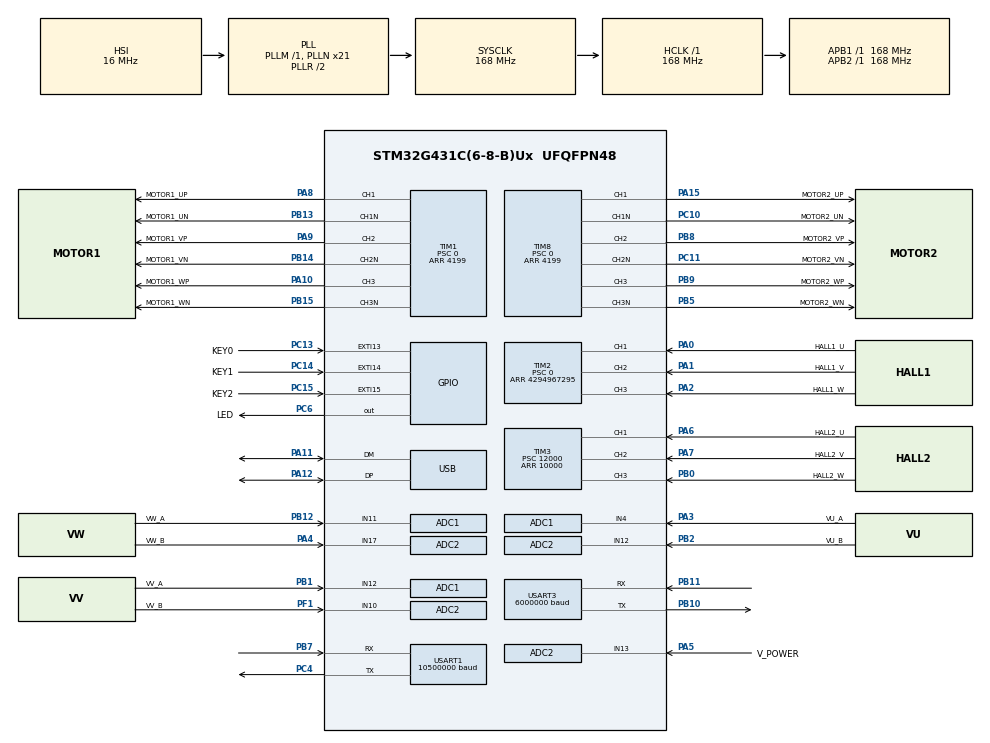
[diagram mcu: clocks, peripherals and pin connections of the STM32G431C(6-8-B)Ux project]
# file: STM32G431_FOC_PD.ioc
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ADC1.EnableInjectedConversion=ENABLE
ADC1.EnableRegularConversion=DISABLE
ADC1.ExternalTrigInjecConv=ADC_EXTERNALTRIGINJEC_T1_CC4
ADC1.ExternalTrigInjecConvEdge=ADC_EXTERNALTRIGINJECCONV_EDGE_FALLING
ADC1.InjNumberOfConversion=3
ADC1.InjectedChannel-2\#ChannelInjectedConversion=ADC_CHANNEL_4
ADC1.InjectedChannel-3\#ChannelInjectedConversion=ADC_CHANNEL_12
ADC1.InjectedChannel-4\#ChannelInjectedConversion=ADC_CHANNEL_11
ADC1.InjectedOffsetNumber-2\#ChannelInjectedConversion=ADC_OFFSET_NONE
ADC1.InjectedOffsetNumber-3\#ChannelInjectedConversion=ADC_OFFSET_NONE
ADC1.InjectedOffsetNumber-4\#ChannelInjectedConversion=ADC_OFFSET_NONE
ADC1.InjectedRank-2\#ChannelInjectedConversion=1
ADC1.InjectedRank-3\#ChannelInjectedConversion=2
ADC1.InjectedRank-4\#ChannelInjectedConversion=3
ADC1.InjectedSamplingTime-2\#ChannelInjectedConversion=ADC_SAMPLETIME_2CYCLES_5
ADC1.InjectedSamplingTime-3\#ChannelInjectedConversion=ADC_SAMPLETIME_2CYCLES_5
ADC1.InjectedSamplingTime-4\#ChannelInjectedConversion=ADC_SAMPLETIME_2CYCLES_5
ADC1.Mode=ADC_MODE_INDEPENDENT
ADC1.Rank2_Channel=ADC_CHANNEL_12
ADC1.Rank3_Channel=ADC_CHANNEL_11
ADC1.injectedQueueMode=DISABLE
ADC1.master=1
ADC2.ContinuousConvMode=DISABLE
ADC2.EOCSelection=ADC_EOC_SEQ_CONV
ADC2.EnableInjectedConversion=ENABLE
ADC2.EnableInjectedOversampling=DISABLE
ADC2.EnableRegularConversion=DISABLE
ADC2.ExternalTrigInjecConv=ADC_EXTERNALTRIGINJEC_T8_CC4
ADC2.ExternalTrigInjecConvEdge=ADC_EXTERNALTRIGINJECCONV_EDGE_FALLING
ADC2.InjNumberOfConversion=4
ADC2.InjectedChannel-12\#ChannelInjectedConversion=ADC_CHANNEL_17
ADC2.InjectedChannel-13\#ChannelInjectedConversion=ADC_CHANNEL_10
ADC2.InjectedChannel-14\#ChannelInjectedConversion=ADC_CHANNEL_12
ADC2.InjectedChannel-17\#ChannelInjectedConversion=ADC_CHANNEL_13
ADC2.InjectedOffsetNumber-12\#ChannelInjectedConversion=ADC_OFFSET_NONE
ADC2.InjectedOffsetNumber-13\#ChannelInjectedConversion=ADC_OFFSET_NONE
ADC2.InjectedOffsetNumber-14\#ChannelInjectedConversion=ADC_OFFSET_NONE
ADC2.InjectedOffsetNumber-17\#ChannelInjectedConversion=ADC_OFFSET_NONE
ADC2.InjectedRank-12\#ChannelInjectedConversion=1
ADC2.InjectedRank-13\#ChannelInjectedConversion=2
ADC2.InjectedRank-14\#ChannelInjectedConversion=3
ADC2.InjectedRank-17\#ChannelInjectedConversion=4
ADC2.InjectedSamplingTime-12\#ChannelInjectedConversion=ADC_SAMPLETIME_2CYCLES_5
ADC2.InjectedSamplingTime-13\#ChannelInjectedConversion=ADC_SAMPLETIME_2CYCLES_5
ADC2.InjectedSamplingTime-14\#ChannelInjectedConversion=ADC_SAMPLETIME_2CYCLES_5
ADC2.InjectedSamplingTime-17\#ChannelInjectedConversion=ADC_SAMPLETIME_2CYCLES_5
ADC2.OversamplingMode=DISABLE
ADC2.Rank1_Channel=ADC_CHANNEL_17
ADC2.Rank2_Channel=ADC_CHANNEL_10
ADC2.Rank3_Channel=ADC_CHANNEL_12
ADC2.Rank4_Channel=ADC_CHANNEL_13
ADC2.injectedQueueMode=DISABLE
Dma.CORDIC_READ.0.Direction=DMA_PERIPH_TO_MEMORY
Dma.CORDIC_READ.0.EventEnable=DISABLE
Dma.CORDIC_READ.0.Instance=DMA1_Channel1
Dma.CORDIC_READ.0.MemDataAlignment=DMA_MDATAALIGN_WORD
Dma.CORDIC_READ.0.MemInc=DMA_MINC_ENABLE
Dma.CORDIC_READ.0.Mode=DMA_NORMAL
Dma.CORDIC_READ.0.PeriphDataAlignment=DMA_PDATAALIGN_WORD
Dma.CORDIC_READ.0.PeriphInc=DMA_PINC_DISABLE
Dma.CORDIC_READ.0.Polarity=HAL_DMAMUX_REQ_GEN_RISING
Dma.CORDIC_READ.0.Priority=DMA_PRIORITY_LOW
Dma.CORDIC_READ.0.RequestNumber=1
Dma.CORDIC_READ.0.SignalID=NONE
Dma.CORDIC_READ.0.SyncEnable=DISABLE
Dma.CORDIC_READ.0.SyncPolarity=HAL_DMAMUX_SYNC_NO_EVENT
Dma.CORDIC_READ.0.SyncRequestNumber=1
Dma.CORDIC_READ.0.SyncSignalID=NONE
Dma.CORDIC_WRITE.1.Direction=DMA_MEMORY_TO_PERIPH
Dma.CORDIC_WRITE.1.EventEnable=DISABLE
Dma.CORDIC_WRITE.1.Instance=DMA1_Channel2
Dma.CORDIC_WRITE.1.MemDataAlignment=DMA_MDATAALIGN_WORD
Dma.CORDIC_WRITE.1.MemInc=DMA_MINC_ENABLE
Dma.CORDIC_WRITE.1.Mode=DMA_NORMAL
Dma.CORDIC_WRITE.1.PeriphDataAlignment=DMA_PDATAALIGN_WORD
Dma.CORDIC_WRITE.1.PeriphInc=DMA_PINC_DISABLE
Dma.CORDIC_WRITE.1.Polarity=HAL_DMAMUX_REQ_GEN_RISING
Dma.CORDIC_WRITE.1.Priority=DMA_PRIORITY_LOW
Dma.CORDIC_WRITE.1.RequestNumber=1
Dma.CORDIC_WRITE.1.SignalID=NONE
Dma.CORDIC_WRITE.1.SyncEnable=DISABLE
Dma.CORDIC_WRITE.1.SyncPolarity=HAL_DMAMUX_SYNC_NO_EVENT
Dma.CORDIC_WRITE.1.SyncRequestNumber=1
Dma.CORDIC_WRITE.1.SyncSignalID=NONE
Dma.Request0=CORDIC_READ
Dma.Request1=CORDIC_WRITE
Dma.Request2=USART1_TX
Dma.USART1_TX.2.Direction=DMA_MEMORY_TO_PERIPH
Dma.USART1_TX.2.EventEnable=DISABLE
Dma.USART1_TX.2.Instance=DMA2_Channel1
Dma.USART1_TX.2.MemDataAlignment=DMA_MDATAALIGN_BYTE
Dma.USART1_TX.2.MemInc=DMA_MINC_ENABLE
Dma.USART1_TX.2.Mode=DMA_NORMAL
Dma.USART1_TX.2.PeriphDataAlignment=DMA_PDATAALIGN_BYTE
Dma.USART1_TX.2.PeriphInc=DMA_PINC_DISABLE
Dma.USART1_TX.2.Polarity=HAL_DMAMUX_REQ_GEN_RISING
Dma.USART1_TX.2.Priority=DMA_PRIORITY_LOW
Dma.USART1_TX.2.RequestNumber=1
Dma.USART1_TX.2.SignalID=NONE
Dma.USART1_TX.2.SyncEnable=DISABLE
Dma.USART1_TX.2.SyncPolarity=HAL_DMAMUX_SYNC_NO_EVENT
Dma.USART1_TX.2.SyncRequestNumber=1
Dma.USART1_TX.2.SyncSignalID=NONE
Mcu.Family=STM32G4
Mcu.Name=STM32G431C(6-8-B)Ux
Mcu.Package=UFQFPN48
NVIC.ADC1_2_IRQn=true\:0\:0\:true\:false\:true\:true\:true\:true
NVIC.DMA1_Channel1_IRQn=true\:0\:0\:false\:false\:true\:false\:true\:true
NVIC.DMA1_Channel2_IRQn=true\:0\:0\:false\:false\:true\:false\:true\:true
NVIC.DMA2_Channel1_IRQn=true\:2\:0\:true\:false\:true\:false\:true\:true
NVIC.EXTI15_10_IRQn=true\:2\:0\:true\:false\:true\:true\:true\:true
NVIC.PriorityGroup=NVIC_PRIORITYGROUP_4
NVIC.TIM1_CC_IRQn=true\:1\:0\:true\:false\:true\:true\:true\:true
NVIC.TIM2_IRQn=true\:2\:0\:true\:false\:true\:true\:true\:true
NVIC.TIM3_IRQn=true\:2\:0\:true\:false\:true\:true\:true\:true
NVIC.TIM8_CC_IRQn=true\:1\:0\:true\:false\:true\:true\:true\:true
NVIC.USART1_IRQn=true\:3\:0\:true\:false\:true\:true\:true\:true
NVIC.USB_LP_IRQn=true\:0\:0\:false\:false\:true\:false\:true\:true
PA0.GPIO_Label=HALL1_U
PA0.GPIO_PuPd=GPIO_PULLDOWN
PA0.GPIO_Speed=GPIO_SPEED_FREQ_HIGH
PA0.Signal=S_TIM2_CH1
PA1.GPIO_Label=HALL1_V
PA1.GPIO_PuPd=GPIO_PULLDOWN
PA1.GPIO_Speed=GPIO_SPEED_FREQ_HIGH
PA1.Signal=S_TIM2_CH2
PA10.GPIO_Label=MOTOR1_WP
PA10.GPIO_PuPd=GPIO_NOPULL
PA10.GPIO_Speed=GPIO_SPEED_FREQ_LOW
PA10.Signal=S_TIM1_CH3
PA11.Mode=Device
PA11.Signal=USB_DM
PA12.Mode=Device
PA12.Signal=USB_DP
PA13.Mode=Serial_Wire
PA13.Signal=SYS_JTMS-SWDIO
PA14.Mode=Serial_Wire
PA14.Signal=SYS_JTCK-SWCLK
PA15.GPIO_Label=MOTOR2_UP
PA15.GPIO_PuPd=GPIO_NOPULL
PA15.GPIO_Speed=GPIO_SPEED_FREQ_LOW
PA15.Signal=S_TIM8_CH1
PA2.GPIO_Label=HALL1_W
PA2.GPIO_PuPd=GPIO_PULLDOWN
PA2.GPIO_Speed=GPIO_SPEED_FREQ_HIGH
PA2.Signal=S_TIM2_CH3
PA3.GPIO_Label=VU_A
PA3.Mode=IN4-Single-Ended
PA3.Signal=ADC1_IN4
PA4.GPIO_Label=VW_B
PA4.Mode=IN17-Single-Ended
PA4.Signal=ADC2_IN17
PA5.GPIO_Label=V_POWER
PA5.Mode=IN13-Single-Ended
PA5.Signal=ADC2_IN13
PA6.GPIO_Label=HALL2_U
PA6.GPIO_PuPd=GPIO_PULLDOWN
PA6.Signal=S_TIM3_CH1
PA7.GPIO_Label=HALL2_V
PA7.GPIO_PuPd=GPIO_PULLDOWN
PA7.Signal=S_TIM3_CH2
PA8.GPIO_Label=MOTOR1_UP
PA8.GPIO_PuPd=GPIO_NOPULL
PA8.GPIO_Speed=GPIO_SPEED_FREQ_LOW
PA8.Signal=S_TIM1_CH1
PA9.GPIO_Label=MOTOR1_VP
PA9.GPIO_PuPd=GPIO_NOPULL
PA9.GPIO_Speed=GPIO_SPEED_FREQ_LOW
PA9.Signal=S_TIM1_CH2
PB0.GPIO_Label=HALL2_W
PB0.GPIO_PuPd=GPIO_PULLDOWN
PB0.Signal=S_TIM3_CH3
PB1.GPIO_Label=VV_A
PB1.Mode=IN12-Single-Ended
PB1.Signal=ADC1_IN12
PB10.Mode=Asynchronous
PB10.Signal=USART3_TX
PB11.Mode=Asynchronous
PB11.Signal=USART3_RX
PB12.GPIO_Label=VW_A
PB12.Mode=IN11-Single-Ended
PB12.Signal=ADC1_IN11
PB13.GPIO_Label=MOTOR1_UN
PB13.GPIO_PuPd=GPIO_NOPULL
PB13.GPIO_Speed=GPIO_SPEED_FREQ_LOW
PB13.Mode=PWM Generation1 CH1 CH1N
PB13.Signal=TIM1_CH1N
PB14.GPIO_Label=MOTOR1_VN
PB14.GPIO_PuPd=GPIO_NOPULL
PB14.GPIO_Speed=GPIO_SPEED_FREQ_LOW
PB14.Mode=PWM Generation2 CH2 CH2N
PB14.Signal=TIM1_CH2N
PB15.GPIO_Label=MOTOR1_WN
PB15.GPIO_PuPd=GPIO_NOPULL
PB15.GPIO_Speed=GPIO_SPEED_FREQ_LOW
PB15.Mode=PWM Generation3 CH3 CH3N
PB15.Signal=TIM1_CH3N
PB2.GPIO_Label=VU_B
PB2.Mode=IN12-Single-Ended
PB2.Signal=ADC2_IN12
PB5.GPIO_Label=MOTOR2_WN
PB5.GPIO_PuPd=GPIO_NOPULL
PB5.GPIO_Speed=GPIO_SPEED_FREQ_LOW
PB5.Mode=PWM Generation3 CH3 CH3N
PB5.Signal=TIM8_CH3N
PB7.Mode=Asynchronous
PB7.Signal=USART1_RX
PB8-BOOT0.GPIO_Label=MOTOR2_VP
PB8-BOOT0.GPIO_PuPd=GPIO_NOPULL
PB8-BOOT0.GPIO_Speed=GPIO_SPEED_FREQ_LOW
PB8-BOOT0.Signal=S_TIM8_CH2
PB9.GPIO_Label=MOTOR2_WP
PB9.GPIO_PuPd=GPIO_NOPULL
PB9.GPIO_Speed=GPIO_SPEED_FREQ_LOW
PB9.Signal=S_TIM8_CH3
PC10.GPIO_Label=MOTOR2_UN
PC10.GPIO_PuPd=GPIO_NOPULL
PC10.GPIO_Speed=GPIO_SPEED_FREQ_LOW
PC10.Mode=PWM Generation1 CH1 CH1N
PC10.Signal=TIM8_CH1N
PC11.GPIO_Label=MOTOR2_VN
PC11.GPIO_PuPd=GPIO_NOPULL
PC11.GPIO_Speed=GPIO_SPEED_FREQ_LOW
PC11.Mode=PWM Generation2 CH2 CH2N
PC11.Signal=TIM8_CH2N
PC13.GPIO_Label=KEY0
PC13.GPIO_ModeDefaultEXTI=GPIO_MODE_IT_FALLING
PC13.GPIO_PuPd=GPIO_PULLUP
PC13.Signal=GPXTI13
PC14-OSC32_IN.GPIO_Label=KEY1
PC14-OSC32_IN.GPIO_ModeDefaultEXTI=GPIO_MODE_IT_FALLING
PC14-OSC32_IN.GPIO_PuPd=GPIO_PULLUP
PC14-OSC32_IN.Signal=GPXTI14
PC15-OSC32_OUT.GPIO_Label=KEY2
PC15-OSC32_OUT.GPIO_ModeDefaultEXTI=GPIO_MODE_IT_FALLING
PC15-OSC32_OUT.GPIO_PuPd=GPIO_PULLUP
PC15-OSC32_OUT.Signal=GPXTI15
PC4.Mode=Asynchronous
PC4.Signal=USART1_TX
PC6.GPIO_Label=LED
PC6.Signal=GPIO_Output
PF1-OSC_OUT.GPIO_Label=VV_B
PF1-OSC_OUT.Mode=IN10-Single-Ended
PF1-OSC_OUT.Signal=ADC2_IN10
ProjectManager.HeapSize=0x200
ProjectManager.StackSize=0x400
ProjectManager.TargetToolchain=Makefile
RCC.ADC12Freq_Value=168000000
RCC.AHBFreq_Value=168000000
RCC.APB1Freq_Value=168000000
RCC.APB1TimFreq_Value=168000000
RCC.APB2Freq_Value=168000000
RCC.APB2TimFreq_Value=168000000
RCC.CK48CLockSelection=RCC_USBCLKSOURCE_HSI48
RCC.CortexFreq_Value=168000000
RCC.EXTERNAL_CLOCK_VALUE=12288000
RCC.HCLKFreq_Value=168000000
RCC.HSE_VALUE=8000000
RCC.HSI48_VALUE=48000000
RCC.HSI_VALUE=16000000
RCC.LSE_VALUE=32768
RCC.PLLN=21
RCC.SYSCLKFreq_VALUE=168000000
RCC.SYSCLKSource=RCC_SYSCLKSOURCE_PLLCLK
RCC.USBFreq_Value=48000000
RCC.VCOOutputFreq_Value=336000000
SH.S_TIM1_CH1.0=TIM1_CH1,PWM Generation1 CH1 CH1N
SH.S_TIM1_CH2.0=TIM1_CH2,PWM Generation2 CH2 CH2N
SH.S_TIM1_CH3.0=TIM1_CH3,PWM Generation3 CH3 CH3N
SH.S_TIM2_CH1.0=TIM2_CH1,Xored_Inputs_Hall_Sensor_Interface
SH.S_TIM2_CH2.0=TIM2_CH2,Xored_Inputs_Hall_Sensor_Interface
SH.S_TIM2_CH3.0=TIM2_CH3,Xored_Inputs_Hall_Sensor_Interface
SH.S_TIM3_CH1.0=TIM3_CH1,Xored_Inputs_Hall_Sensor_Interface
SH.S_TIM3_CH2.0=TIM3_CH2,Xored_Inputs_Hall_Sensor_Interface
SH.S_TIM3_CH3.0=TIM3_CH3,Xored_Inputs_Hall_Sensor_Interface
SH.S_TIM8_CH1.0=TIM8_CH1,PWM Generation1 CH1 CH1N
SH.S_TIM8_CH2.0=TIM8_CH2,PWM Generation2 CH2 CH2N
SH.S_TIM8_CH3.0=TIM8_CH3,PWM Generation3 CH3 CH3N
STMicroelectronics.X-CUBE-ALGOBUILD.1.3.0.LibraryCcDSPOoLibraryJjDSPOoLibrary=true
TIM1.AutoReloadPreload=TIM_AUTORELOAD_PRELOAD_DISABLE
TIM1.Channel-PWM\ Generation1\ CH1\ CH1N=TIM_CHANNEL_1
TIM1.Channel-PWM\ Generation2\ CH2\ CH2N=TIM_CHANNEL_2
TIM1.Channel-PWM\ Generation3\ CH3\ CH3N=TIM_CHANNEL_3
TIM1.Channel-PWM\ Generation4\ No\ Output=TIM_CHANNEL_4
TIM1.CounterMode=TIM_COUNTERMODE_CENTERALIGNED1
TIM1.DeadTime=50
TIM1.OCFastMode_PWM-PWM\ Generation1\ CH1\ CH1N=TIM_OCFAST_DISABLE
TIM1.OCFastMode_PWM-PWM\ Generation2\ CH2\ CH2N=TIM_OCFAST_DISABLE
TIM1.OCFastMode_PWM-PWM\ Generation3\ CH3\ CH3N=TIM_OCFAST_DISABLE
TIM1.PeriodNoDither=4199
TIM1.Prescaler=0
TIM1.RepetitionCounter=0
TIM1.TIM_MasterOutputTrigger=TIM_TRGO_OC4REF
TIM2.Channel-Input_Capture1_from_TI1=TIM_CHANNEL_1
TIM2.Channel-Input_Capture2_from_TI2=TIM_CHANNEL_2
TIM2.Channel-Input_Capture3_from_TI3=TIM_CHANNEL_3
TIM2.PeriodNoDither=4294967295
TIM2.Prescaler=0
TIM3.Commutation_Delay=5
TIM3.IC1Filter=10
TIM3.PeriodNoDither=10000
TIM3.Prescaler=12000
TIM8.AutoReloadPreload=TIM_AUTORELOAD_PRELOAD_DISABLE
TIM8.Channel-PWM\ Generation1\ CH1\ CH1N=TIM_CHANNEL_1
TIM8.Channel-PWM\ Generation2\ CH2\ CH2N=TIM_CHANNEL_2
TIM8.Channel-PWM\ Generation3\ CH3\ CH3N=TIM_CHANNEL_3
TIM8.Channel-PWM\ Generation4\ No\ Output=TIM_CHANNEL_4
TIM8.CounterMode=TIM_COUNTERMODE_CENTERALIGNED1
TIM8.DeadTime=50
TIM8.DeadTimePreload=DISABLE
TIM8.Dithering=Disable
TIM8.OCFastMode_PWM-PWM\ Generation1\ CH1\ CH1N=TIM_OCFAST_DISABLE
TIM8.OCFastMode_PWM-PWM\ Generation2\ CH2\ CH2N=TIM_OCFAST_DISABLE
TIM8.OCFastMode_PWM-PWM\ Generation3\ CH3\ CH3N=TIM_OCFAST_DISABLE
TIM8.OCMode_PWM-PWM\ Generation1\ CH1\ CH1N=TIM_OCMODE_PWM1
TIM8.OCMode_PWM-PWM\ Generation2\ CH2\ CH2N=TIM_OCMODE_PWM1
TIM8.OCMode_PWM-PWM\ Generation3\ CH3\ CH3N=TIM_OCMODE_PWM1
TIM8.PeriodNoDither=4199
TIM8.Prescaler=0
TIM8.RepetitionCounter=0
TIM8.TIM_MasterOutputTrigger=TIM_TRGO_OC4REF
TIM8.TIM_MasterOutputTrigger2=TIM_TRGO2_RESET
USART1.AutoBaudRateEnableParam=UART_ADVFEATURE_AUTOBAUDRATE_DISABLE
USART1.BaudRate=10500000
USART1.FIFOMode=FIFOMODE_ENABLE
USART1.Mode=MODE_TX
USART1.Parity=PARITY_NONE
USART1.VirtualMode-Asynchronous=VM_ASYNC
USART1.WordLength=WORDLENGTH_8B
USART3.BaudRate=6000000
USART3.VirtualMode-Asynchronous=VM_ASYNC
USB_DEVICE.CLASS_NAME_FS=CDC
USB_DEVICE.VirtualMode=Cdc
USB_DEVICE.VirtualModeFS=Cdc_FS
VP_CORDIC_VS_CORDIC.Mode=CORDIC_Activate
VP_FMAC_VS_FMAC.Mode=FMAC_Activate
VP_STMicroelectronics.X-CUBE-ALGOBUILD_VS_DSPOoLibraryJjLibrary_1.3.0_1.3.0.Mode=DSPOoLibraryJjLibrary
VP_SYS_VS_DBSignals.Mode=DisableDeadBatterySignals
VP_TIM1_VS_ClockSourceINT.Mode=Internal
VP_TIM1_VS_no_output4.Mode=PWM Generation4 No Output
VP_TIM2_VS_ClockSourceINT.Mode=Internal
VP_TIM3_VS_ClockSourceINT.Mode=Internal
VP_TIM8_VS_ClockSourceINT.Mode=Internal
VP_TIM8_VS_no_output4.Mode=PWM Generation4 No Output
VP_USB_DEVICE_VS_USB_DEVICE_CDC_FS.Mode=CDC_FS
board=custom

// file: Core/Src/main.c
/* USER CODE BEGIN Header */
/**
  ******************************************************************************
  * @file           : main.c
  * @brief          : Main program body
  ******************************************************************************
  * @attention
  *
  * Copyright (c) 2025 STMicroelectronics.
  * All rights reserved.
  *
  * This software is licensed under terms that can be found in the LICENSE file
  * in the root directory of this software component.
  * If no LICENSE file comes with this software, it is provided AS-IS.
  *
  ******************************************************************************
  */
/* USER CODE END Header */
#include "main.h"
#include "adc.h"
#include "cordic.h"
#include "dma.h"
#include "fmac.h"
#include "tim.h"
#include "usart.h"
#include "usb_device.h"
#include "gpio.h"

/* USER CODE BEGIN Includes */
#include "Motor.h"
#include <stdint.h>
#include <arm_math.h>
/* USER CODE END Includes */

/* USER CODE BEGIN PV */
const uint16_t delay_ms[] = {100, 100, 100, 700};

CORDIC_ConfigTypeDef sCordicConfig;
FOC_t *FOC_motor[4] = {NULL};
uint8_t cnt = 0;
/* USER CODE END PV */

void SystemClock_Config(void);

int main(void)
{

  /* MCU Configuration--------------------------------------------------------*/

  /* Reset of all peripherals, Initializes the Flash interface and the Systick. */
  HAL_Init();

  /* Configure the system clock */
  SystemClock_Config();

  /* Initialize all configured peripherals */
  MX_GPIO_Init();
  MX_DMA_Init();
  MX_ADC1_Init();
  MX_ADC2_Init();
  MX_CORDIC_Init();
  MX_FMAC_Init();
  MX_TIM1_Init();
  MX_TIM2_Init();
  MX_TIM3_Init();
  MX_TIM8_Init();
  MX_USART3_UART_Init();
  MX_USB_Device_Init();
  MX_USART1_UART_Init();
  /* USER CODE BEGIN 2 */

  /*##-2- Configure the CORDIC peripheral ####################################*/
  sCordicConfig.Function         = CORDIC_FUNCTION_SINE;     /* sine function */
  sCordicConfig.Precision        = CORDIC_PRECISION_6CYCLES; /* max precision for q1.31 sine */
  sCordicConfig.Scale            = CORDIC_SCALE_0;           /* no scale */
  sCordicConfig.NbWrite          = CORDIC_NBWRITE_1;         /* One input data: angle. Second input data (modulus) is 1 after cordic reset */
  sCordicConfig.NbRead           = CORDIC_NBREAD_2;          /* Two output data: sine then cosine */
  sCordicConfig.InSize           = CORDIC_INSIZE_32BITS;     /* q1.31 format for input data */
  sCordicConfig.OutSize          = CORDIC_OUTSIZE_32BITS;    /* q1.31 format for output data */

  if (HAL_CORDIC_Configure(&hcordic, &sCordicConfig) != HAL_OK)
  {
    /* Configuration Error */
    Error_Handler();
  }

  // FOC_motor[0] = motor_init(&htim1, &hadc1);
  FOC_motor[1] = motor_init(&htim8, &hadc2);
  // HAL_CORDIC_Calculate_DMA();
  /* USER CODE END 2 */

  /* Infinite loop */
  /* USER CODE BEGIN WHILE */
  while (1)
  {
    HAL_Delay(delay_ms[cnt++&0x3]);
    HAL_GPIO_TogglePin(LED_GPIO_Port, LED_Pin);
    /* USER CODE END WHILE */

  }
}

void SystemClock_Config(void)
{
  RCC_OscInitTypeDef RCC_OscInitStruct = {0};
  RCC_ClkInitTypeDef RCC_ClkInitStruct = {0};

  /** Configure the main internal regulator output voltage
  */
  HAL_PWREx_ControlVoltageScaling(PWR_REGULATOR_VOLTAGE_SCALE1_BOOST);

  /** Initializes the RCC Oscillators according to the specified parameters
  * in the RCC_OscInitTypeDef structure.
  */
  RCC_OscInitStruct.OscillatorType = RCC_OSCILLATORTYPE_HSI|RCC_OSCILLATORTYPE_HSI48;
  RCC_OscInitStruct.HSIState = RCC_HSI_ON;
  RCC_OscInitStruct.HSICalibrationValue = RCC_HSICALIBRATION_DEFAULT;
  RCC_OscInitStruct.HSI48State = RCC_HSI48_ON;
  RCC_OscInitStruct.PLL.PLLState = RCC_PLL_ON;
  RCC_OscInitStruct.PLL.PLLSource = RCC_PLLSOURCE_HSI;
  RCC_OscInitStruct.PLL.PLLM = RCC_PLLM_DIV1;
  RCC_OscInitStruct.PLL.PLLN = 21;
  RCC_OscInitStruct.PLL.PLLP = RCC_PLLP_DIV2;
  RCC_OscInitStruct.PLL.PLLQ = RCC_PLLQ_DIV2;
  RCC_OscInitStruct.PLL.PLLR = RCC_PLLR_DIV2;
  if (HAL_RCC_OscConfig(&RCC_OscInitStruct) != HAL_OK)
  {
    Error_Handler();
  }

  /** Initializes the CPU, AHB and APB buses clocks
  */
  RCC_ClkInitStruct.ClockType = RCC_CLOCKTYPE_HCLK|RCC_CLOCKTYPE_SYSCLK
                              |RCC_CLOCKTYPE_PCLK1|RCC_CLOCKTYPE_PCLK2;
  RCC_ClkInitStruct.SYSCLKSource = RCC_SYSCLKSOURCE_PLLCLK;
  RCC_ClkInitStruct.AHBCLKDivider = RCC_SYSCLK_DIV1;
  RCC_ClkInitStruct.APB1CLKDivider = RCC_HCLK_DIV1;
  RCC_ClkInitStruct.APB2CLKDivider = RCC_HCLK_DIV1;

  if (HAL_RCC_ClockConfig(&RCC_ClkInitStruct, FLASH_LATENCY_4) != HAL_OK)
  {
    Error_Handler();
  }
}

/* USER CODE BEGIN 4 */
void HAL_TIM_IC_CaptureCallback(TIM_HandleTypeDef *htim)
{
  if(htim == &htim2)
  {
    FOC_motor[1]->pSensor->update(FOC_motor[1]->pSensor, (void*)0, 1);
    // if(htim->Channel == HAL_TIM_ACTIVE_CHANNEL_1)
    //   param.speed = HAL_TIM_ReadCapturedValue(&htim2, TIM_CHANNEL_1);
    // param.HallA[2] = HAL_GPIO_ReadPin(HALL1_U_GPIO_Port, HALL1_U_Pin);
    // param.HallA[1] = HAL_GPIO_ReadPin(HALL1_V_GPIO_Port, HALL1_V_Pin);
    // param.HallA[0] = HAL_GPIO_ReadPin(HALL1_W_GPIO_Port, HALL1_W_Pin);
  }
  else if(htim == &htim3)
  {
    // param.HallB[2] = HAL_GPIO_ReadPin(HALL2_U_GPIO_Port, HALL2_U_Pin);
    // param.HallB[1] = HAL_GPIO_ReadPin(HALL2_V_GPIO_Port, HALL2_V_Pin);
    // param.HallB[0] = HAL_GPIO_ReadPin(HALL2_W_GPIO_Port, HALL2_W_Pin);
  }
}

void HAL_ADCEx_InjectedConvCpltCallback(ADC_HandleTypeDef *hadc)
{
    if(hadc == FOC_motor[1]->pRsSamp->priv)
    {
      FocControl(FOC_motor[1]);
    }
    else if(hadc == FOC_motor[0]->pRsSamp->priv)
    {
      FocControl(FOC_motor[0]);
    }
}

bool state = true;
void HAL_GPIO_EXTI_Callback(uint16_t GPIO_Pin)
{

  if(GPIO_Pin == KEY0_Pin)
  {
    // FOC_motor[0]->EnableMotor(FOC_motor[0], state);
    // state = state?false:true;
    FOC_motor[1]->tar_iq -= 0.25;
  }
  else if(GPIO_Pin == KEY1_Pin)
  {
    FOC_motor[1]->EnableMotor(FOC_motor[1], state);
    state = state?false:true;
	}
  else if(GPIO_Pin == KEY2_Pin)
  {
    // FOC_motor[0]->EnableMotor(FOC_motor[0], state);
    // state = state?false:true;
    FOC_motor[1]->tar_iq += 0.25;
  }
}
/* USER CODE END 4 */

void Error_Handler(void)
{
  __disable_irq();
  while (1)
  {
  }
}
